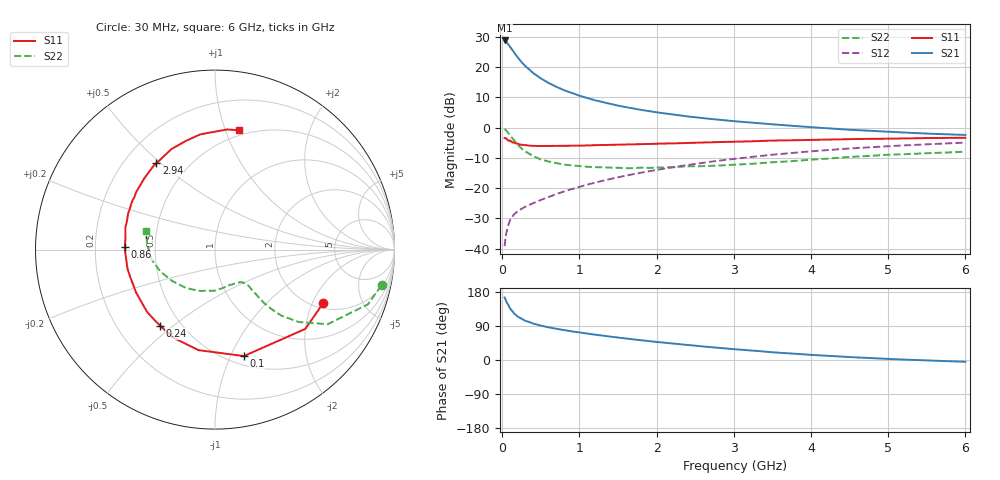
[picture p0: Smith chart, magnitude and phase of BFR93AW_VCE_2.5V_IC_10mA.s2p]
! Infineon Technologies  Discrete & RF Semiconductors
! BFR93AW
! VCE =  2.5 V,  IC =  10 mA
! Common Emitter S-Parameters:  Nov 2015
# GHz  S  MA  R  50
!  f  S11  S21  S12  S22
! GHz  MAG  ANG  MAG  ANG  MAG  ANG  MAG  ANG
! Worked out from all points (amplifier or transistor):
!   206 points, 30 MHz to 6 GHz, reference 50 ohm
!   highest |S21| = 28.8 dB at 30 MHz (marker M1)
!   |S21| within 3 dB of that: start of sweep to 126.1 MHz
!   unconditionally stable (mu >= 1): 730.4 MHz to 2.35 GHz
!   at 200 MHz: K = 0.49, MSG = 25.4 dB, |S12| = -27.6 dB
!   at 1.56 GHz: K = 1.07, MAG = 9.9 dB, |S12| = -16.1 dB
!   at 6 GHz: K = 0.94, MSG = 1.3 dB, |S12| = -5.0 dB
!   S11 on the Smith chart (normalised r, x): 30 MHz: 2.24, -2.43; 100 MHz: 0.59, -1.12; 240 MHz: 0.39, -0.45; 860 MHz: 0.33, +0.01; 2.94 GHz: 0.33, +0.48; 6 GHz: 0.45, +1.12
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0.03  0.673 -26.1  27.52 164.8  0.011 75.6  0.9491 -12.1
0.05  0.6695 -41.3  26.41 154.8  0.0178 71.7  0.9042 -19.8
0.1  0.6146 -74.8  21.87 136.0  0.0296 61.2  0.7531 -33.5
0.15  0.5676 -99.3  17.53 123.1  0.0367 54.0  0.6159 -40.9
0.2  0.5427 -115.5  14.39 114.5  0.0415 51.9  0.5205 -44.9
0.24  0.5225 -125.7  12.48 109.6  0.0447 51.0  0.4636 -46.3
0.26  0.5179 -130.2  11.68 107.3  0.0463 51.0  0.4399 -46.8
0.3  0.5137 -137.5  10.32 103.3  0.0494 51.7  0.4021 -47.5
0.4  0.5005 -151.3  7.953 96.1  0.0564 54.3  0.3371 -47.4
0.5  0.4968 -160.9  6.484 90.6  0.064 56.3  0.2972 -47.4
0.6  0.4989 -167.8  5.453 86.2  0.0711 58.2  0.275 -47.1
0.7  0.4983 -173.8  4.726 82.3  0.0796 60.0  0.2587 -47.9
0.86  0.5015 178.5  3.89 77.0  0.0932 62.0  0.2406 -49.6
1.04  0.5053 171.2  3.247 71.5  0.1089 63.3  0.2289 -52.7
1.2  0.514 166.0  2.831 66.9  0.1231 64.0  0.2227 -56.1
1.5  0.524 157.5  2.306 59.2  0.151 64.3  0.217 -64.0
2.02  0.5435 143.8  1.774 47.2  0.202 62.7  0.2199 -79.9
2.94  0.5814 124.1  1.3 29.7  0.2979 56.2  0.2417 -107.5
3.1  0.5877 120.9  1.247 27.1  0.3143 54.6  0.2472 -112.9
4.1  0.6305 103.2  0.996 12.4  0.4148 44.3  0.3008 -147.0
5.1  0.6587 89.1  0.841 2.0  0.5005 32.7  0.3597 -173.7
6  0.6783 78.6  0.757 -4.7  0.5652 22.9  0.4006 164.8
